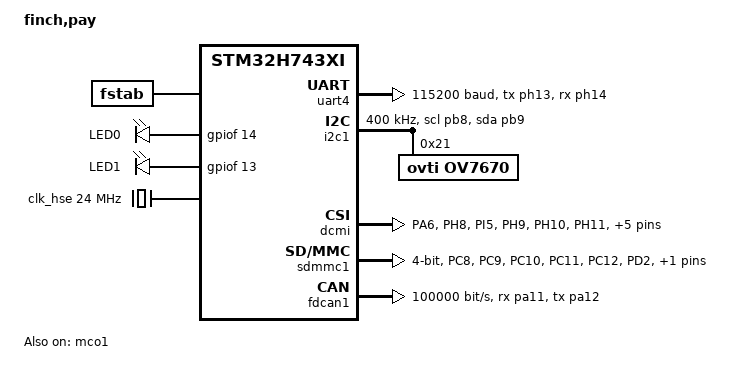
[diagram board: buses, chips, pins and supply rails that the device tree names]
/*
 * Copyright (c) 2025 The FINCH CubeSat Project Flight Software Contributors
 *
 * SPDX-License-Identifier: Apache-2.0
 */

/dts-v1/;

#include <st/h7/stm32h743Xi.dtsi>
#include <zephyr/dt-bindings/pinctrl/stm32-pinctrl.h>
#include <zephyr/dt-bindings/clock/stm32h7_clock.h>

/ {
	model = "finch,pay";
	compatible = "finch,pay";

	chosen {
		zephyr,sram = &sram0;
		zephyr,flash = &flash0;
		zephyr,code-partition = &slot0_partition;
		zephyr,console = &uart4;
		/* Selects raw CAN hardware; it does not attach CAN to libcsp by itself. */
		zephyr,canbus = &fdcan1;
		/* Applications dequeue completed camera frames from DCMI. */
		zephyr,camera = &dcmi;
	};

	fstab {
		compatible = "zephyr,fstab";

		sd_card: sd-card {
			compatible = "zephyr,fstab,fatfs";
			mount-point = "/SD:";
			disk-access;
		};
	};

	leds: leds {
		compatible = "gpio-leds";
		act_led: led_0 {
			gpios = <&gpiof 14 GPIO_ACTIVE_HIGH>;
			label = "LED0";
		};
		wrn_led: led_1 {
			gpios = <&gpiof 13 GPIO_ACTIVE_HIGH>;
			label = "LED1";
		};
	};

	aliases {
		led0 = &act_led;
		actled = &act_led;
		led1 = &wrn_led;
		wrnled = &wrn_led;
	};
};

&clk_hse {
	clock-frequency = <DT_FREQ_M(24)>;
	status = "okay";
};

&pll {
	div-m = <2>;
	mul-n = <80>;
	div-p = <2>;
	div-q = <2>;
	div-r = <2>;
	clocks = <&clk_hse>;
	status = "okay";
};

&rcc {
	clocks = <&pll>;
	clock-frequency = <DT_FREQ_M(480)>;
	d1cpre = <1>;
	hpre = <4>;
	d1ppre = <1>;
	d2ppre1 = <1>;
	d2ppre2 = <1>;
	d3ppre = <1>;
};

&flash0 {
	partitions {
		compatible = "fixed-partitions";
		#address-cells = <1>;
		#size-cells = <1>;
		slot0_partition: partition@0 {
			label = "image-0";
			reg = <0x00000000 DT_SIZE_K(128)>;
		};
	};
};

&uart4 {
	pinctrl-0 = <&uart4_tx_ph13 &uart4_rx_ph14>;
	pinctrl-names = "default";
	current-speed = <115200>;
	status = "okay";
};

&pinctrl {
	uart4_tx_ph13: uart4_tx_ph13 {
		pinmux = <STM32_PINMUX('H', 13, AF8)>;
	};

	uart4_rx_ph14: uart4_rx_ph14 {
		pinmux = <STM32_PINMUX('H', 14, AF8)>;
	};

	fdcan1_rx_pa11: fdcan1_rx_pa11 {
		pinmux = <STM32_PINMUX('A', 11, AF9)>;
	};

	fdcan1_tx_pa12: fdcan1_tx_pa12 {
		pinmux = <STM32_PINMUX('A', 12, AF9)>;
	};

	/* MCO1 drives the OV7670 XCLK input from PA8. */
	rcc_mco_1_pa8: rcc_mco_1_pa8 {
		pinmux = <STM32_PINMUX('A', 8, AF0)>;
		slew-rate = "very-high-speed";
	};

	i2c1_scl_pb8: i2c1_scl_pb8 {
		pinmux = <STM32_PINMUX('B', 8, AF4)>;
		bias-pull-up;
		drive-open-drain;
	};

	i2c1_sda_pb9: i2c1_sda_pb9 {
		pinmux = <STM32_PINMUX('B', 9, AF4)>;
		bias-pull-up;
		drive-open-drain;
	};

	dcmi_pins: dcmi_pins {
		pinmux = <STM32_PINMUX('A', 6, AF13)>,
			 <STM32_PINMUX('H', 8, AF13)>,
			 <STM32_PINMUX('I', 5, AF13)>,
			 <STM32_PINMUX('H', 9, AF13)>,
			 <STM32_PINMUX('H', 10, AF13)>,
			 <STM32_PINMUX('H', 11, AF13)>,
			 <STM32_PINMUX('H', 12, AF13)>,
			 <STM32_PINMUX('E', 4, AF13)>,
			 <STM32_PINMUX('I', 4, AF13)>,
			 <STM32_PINMUX('E', 5, AF13)>,
			 <STM32_PINMUX('E', 6, AF13)>;
	};

	sdmmc1_pins: sdmmc1_pins {
		pinmux = <STM32_PINMUX('C', 8, AF12)>,
			 <STM32_PINMUX('C', 9, AF12)>,
			 <STM32_PINMUX('C', 10, AF12)>,
			 <STM32_PINMUX('C', 11, AF12)>,
			 <STM32_PINMUX('C', 12, AF12)>,
			 <STM32_PINMUX('D', 2, AF12)>;
		bias-pull-up;
		slew-rate = "very-high-speed";
	};
};

&i2c1 {
	pinctrl-0 = <&i2c1_scl_pb8 &i2c1_sda_pb9>;
	pinctrl-names = "default";
	clock-frequency = <400000>;
	status = "okay";

	ov7670: ov7670@21 {
		compatible = "ovti,ov7670";
		reg = <0x21>;
		status = "okay";

		port {
			ov7670_ep_out: endpoint {
				remote-endpoint-label = "dcmi_ep_in";
			};
		};
	};
};

/* Output the board's 24 MHz HSE divided by four: 6 MHz for OV7670 XCLK. */
&mco1 {
	clocks = <&rcc STM32_SRC_HSE MCO1_SEL(MCO1_SEL_HSE)>;
	prescaler = <MCO1_PRE(MCO_PRE_DIV_4)>;
	pinctrl-0 = <&rcc_mco_1_pa8>;
	pinctrl-names = "default";
	status = "okay";
};

&dcmi {
	pinctrl-0 = <&dcmi_pins>;
	pinctrl-names = "default";
	status = "okay";

	port {
		dcmi_ep_in: endpoint {
			remote-endpoint-label = "ov7670_ep_out";
			bus-width = <8>;
			hsync-active = <0>;
			vsync-active = <0>;
			pclk-sample = <1>;
		};
	};
};

&dma1 {
	status = "okay";
};

&dmamux1 {
	status = "okay";
};

&sdmmc1 {
	pinctrl-0 = <&sdmmc1_pins>;
	pinctrl-names = "default";
	bus-width = <4>;
	cd-gpios = <&gpioa 0 GPIO_ACTIVE_LOW>;
	disk-name = "SD";
	status = "okay";
};

&fdcan1 {
	bitrate = <100000>;
	sample-point = <875>;
	clocks = <&rcc STM32_CLOCK_BUS_APB1_2 0x00000100>,
			<&rcc STM32_SRC_HSE FDCAN_SEL(0)>;

	pinctrl-0 = <&fdcan1_rx_pa11 &fdcan1_tx_pa12>;
	pinctrl-names = "default";

	status = "okay";
};

